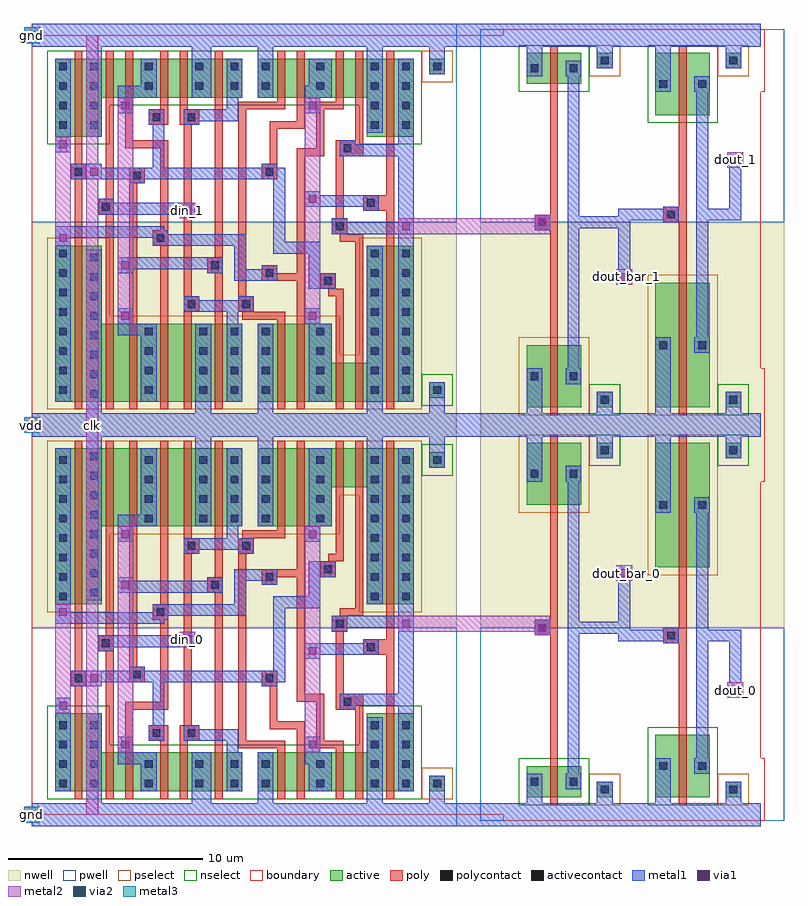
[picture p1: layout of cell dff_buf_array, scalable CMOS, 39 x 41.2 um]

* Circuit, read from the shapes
.subckt dff_buf_array clk din_0 din_1 dout_0 dout_1 dout_bar_0 dout_bar_1 gnd vdd
M1 gnd clk n1 gnd nfet w=4u l=0.4u
M2 gnd clk n2 gnd nfet w=4u l=0.4u
M3 n3 din_0 gnd gnd nfet w=2u l=0.4u
M4 n4 din_1 gnd gnd nfet w=2u l=0.4u
M5 n5 n1 n3 gnd nfet w=2u l=0.4u
M6 n6 n2 n4 gnd nfet w=2u l=0.4u
M7 n7 clk n5 gnd nfet w=2u l=0.4u
M8 n8 clk n6 gnd nfet w=2u l=0.4u
M9 gnd n9 n7 gnd nfet w=2u l=0.4u
M10 gnd n10 n8 gnd nfet w=2u l=0.4u
M11 n9 n5 gnd gnd nfet w=2u l=0.4u
M12 n10 n6 gnd gnd nfet w=2u l=0.4u
M13 n11 n9 gnd gnd nfet w=2u l=0.4u
M14 n12 n10 gnd gnd nfet w=2u l=0.4u
M15 n13 clk n11 gnd nfet w=2u l=0.4u
M16 n14 clk n12 gnd nfet w=2u l=0.4u
M17 n15 n1 n13 gnd nfet w=2u l=0.4u
M18 n16 n2 n14 gnd nfet w=2u l=0.4u
M19 gnd dff_buf_0_0/pinv_3_1/A n15 gnd nfet w=2u l=0.4u
M20 gnd dff_buf_0_1/pinv_3_1/A n16 gnd nfet w=2u l=0.4u
M21 dff_buf_0_0/pinv_3_1/A n13 gnd gnd nfet w=4u l=0.4u
M22 dff_buf_0_1/pinv_3_1/A n14 gnd gnd nfet w=4u l=0.4u
M23 dout_bar_0 dff_buf_0_0/pinv_3_1/A gnd gnd nfet w=1.6u l=0.4u
M24 dout_bar_1 dff_buf_0_1/pinv_3_1/A gnd gnd nfet w=1.6u l=0.4u
M25 dout_0 dout_bar_0 gnd gnd nfet w=3.2u l=0.4u
M26 dout_1 dout_bar_1 gnd gnd nfet w=3.2u l=0.4u
M27 vdd clk n1 vdd pfet w=8u l=0.4u
M28 vdd clk n2 vdd pfet w=8u l=0.4u
M29 n17 din_0 vdd vdd pfet w=4u l=0.4u
M30 n18 din_1 vdd vdd pfet w=4u l=0.4u
M31 n5 clk n17 vdd pfet w=4u l=0.4u
M32 n6 clk n18 vdd pfet w=4u l=0.4u
M33 n19 n1 n5 vdd pfet w=4u l=0.4u
M34 n20 n2 n6 vdd pfet w=4u l=0.4u
M35 vdd n9 n19 vdd pfet w=4u l=0.4u
M36 vdd n10 n20 vdd pfet w=4u l=0.4u
M37 n9 n5 vdd vdd pfet w=4u l=0.4u
M38 n10 n6 vdd vdd pfet w=4u l=0.4u
M39 n21 n9 vdd vdd pfet w=4u l=0.4u
M40 n22 n10 vdd vdd pfet w=4u l=0.4u
M41 n13 n1 n21 vdd pfet w=4u l=0.4u
M42 n14 n2 n22 vdd pfet w=4u l=0.4u
M43 n23 clk n13 vdd pfet w=2u l=0.4u
M44 n24 clk n14 vdd pfet w=2u l=0.4u
M45 vdd dff_buf_0_0/pinv_3_1/A n23 vdd pfet w=2u l=0.4u
M46 vdd dff_buf_0_1/pinv_3_1/A n24 vdd pfet w=2u l=0.4u
M47 dff_buf_0_0/pinv_3_1/A n13 vdd vdd pfet w=8u l=0.4u
M48 dff_buf_0_1/pinv_3_1/A n14 vdd vdd pfet w=8u l=0.4u
M49 dout_bar_0 dff_buf_0_0/pinv_3_1/A vdd vdd pfet w=3.2u l=0.4u
M50 dout_bar_1 dff_buf_0_1/pinv_3_1/A vdd vdd pfet w=3.2u l=0.4u
M51 dout_0 dout_bar_0 vdd vdd pfet w=6.4u l=0.4u
M52 dout_1 dout_bar_1 vdd vdd pfet w=6.4u l=0.4u
.ends

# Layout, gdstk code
import gdstk
lib = gdstk.Library(unit=1e-6, precision=1e-09)
def R(c, l, rs):  # rectangles x0, y0, x1, y1
    for r in rs: c.add(gdstk.rectangle(r[:2], r[2:], *l))
def A(c, l, x, y, w, h, nx, ny, dx, dy):  # array of equal rectangles
    R(c, l, [(x+i*dx, y+j*dy, x+i*dx+w, y+j*dy+h) for i in range(nx) for j in range(ny)])
pwell = (41, 0)
nwell = (42, 0)
active = (43, 0)
pselect = (44, 0)
nselect = (45, 0)
poly = (46, 0)
polycontact = (47, 0)
activecontact = (48, 0)
metal1 = (49, 0)
via1 = (50, 0)
metal2 = (51, 0)
via2 = (61, 0)
metal3 = (62, 0)
boundary = (63, 0)

dff = lib.new_cell('dff')
R(dff, pwell, [(0,-0.6,21.8,9.6)])
R(dff, nwell, [(0,9.6,21.8,20.6)])
R(dff, active, [(1.2,1.2,10.8,3.2), (11.6,1.2,19.6,3.2), (20.4,1.2,21.2,2), (1.2,3.2,3.6,5.2), (17.2,3.2,19.6,5.2), (1.2,10.8,3.6,14.8), (17.2,10.8,19.6,16.8), (1.2,14.8,10.8,18.8), (11.6,14.8,15.4,16.8), (11.6,16.8,19.6,18.8), (20.4,17.8,21.2,18.6)])
R(dff, pselect, [(20,0.8,21.6,2.4), (0.8,10.4,4,14.4), (16.8,10.4,20,16.4), (0.8,14.4,15.8,16.4), (0.8,16.4,20,19.2)])
R(dff, nselect, [(0.8,0.8,20,3.6), (0.8,3.6,4,5.6), (16.8,3.6,20,5.6), (20,17.4,21.6,19)])
R(dff, poly, [(2.2,0.8,2.6,6.6), (3.8,0.8,4.2,8.4), (4.8,0.8,5.2,5.4), (6.6,0.8,7,3.8), (7.6,0.8,8,3.8), (9.4,0.8,9.8,11.4), (12.6,0.8,13,3.4), (13.6,0.8,14,4.4), (15.6,0.8,16,3.4), (16.6,0.8,17,5.4), (18.2,0.8,18.6,8.2), (10.6,3.4,13,3.8), (14.6,3.4,16,3.8), (6,3.8,7,4.6), (7.6,3.8,8.6,4.6), (10.6,3.8,11,13.4), (14.6,3.8,15,5.8), (12.2,4.4,14,4.8), (7.8,4.6,8.2,13.4), (12.2,4.8,12.6,6.6), (4.8,5.4,7,5.8), (15.6,5.4,17,6.2), (6.6,5.8,7,10), (13.6,5.8,15,6.2), (13.6,6.2,14,12.2), (15.6,6.2,16,9.4), (2,6.6,2.8,7.4), (11.8,6.6,12.6,7.4), (5,6.8,5.8,7.6), (2.2,7.4,2.6,19.2), (5,7.6,5.4,19.2), (17,8.2,18.6,9), (3.4,8.4,4.2,9.2), (18.2,9,18.6,19.2), (3.8,9.2,4.2,19.2), (15.4,9.4,16.2,10.2), (6.2,10,7,10.8), (15.8,10.2,17,10.6), (16.6,10.6,17,19.2), (6.6,10.8,7,19.2), (9,11.4,9.8,12.2), (11.8,11.8,12.6,12.2), (9.4,12.2,9.8,19.2), (11.8,12.2,14,12.6), (14.8,12.2,15.6,13), (13.6,12.6,14,19.2), (15.2,13,16,13.4), (7.8,13.4,8.6,14.2), (10.6,13.4,11.4,14.2), (15.6,13.4,16,19.2), (7.8,14.2,8.2,19.2), (10.8,14.2,13,14.6), (12.6,14.6,13,19.2)])
R(dff, polycontact, [(6.2,4,6.6,4.4), (8,4,8.4,4.4), (16,5.6,16.4,6), (2.2,6.8,2.6,7.2), (12,6.8,12.4,7.2), (5.2,7,5.6,7.4), (17.2,8.4,17.6,8.8), (3.6,8.6,4,9), (15.6,9.6,16,10), (6.4,10.2,6.8,10.6), (9.2,11.6,9.6,12), (12,12,12.4,12.4), (15,12.4,15.4,12.8), (8,13.6,8.4,14), (10.8,13.6,11.2,14)])
A(dff, activecontact, 1.4, 1.4, 0.4, 0.4, 1, 4, 0, 1)
A(dff, activecontact, 3, 1.4, 0.4, 0.4, 1, 4, 0, 1)
A(dff, activecontact, 11.8, 1.4, 0.4, 0.4, 3, 2, 2.8, 1)
A(dff, activecontact, 19, 1.4, 0.4, 0.4, 1, 4, 0, 1)
A(dff, activecontact, 1.4, 11, 0.4, 0.4, 1, 8, 0, 1)
A(dff, activecontact, 17.4, 11, 0.4, 0.4, 1, 7, 0, 1)
A(dff, activecontact, 19, 11, 0.4, 0.4, 1, 7, 0, 1)
A(dff, activecontact, 3, 11.2, 0.4, 0.4, 1, 8, 0, 1)
A(dff, activecontact, 5.8, 15, 0.4, 0.4, 1, 4, 0, 1)
A(dff, activecontact, 8.6, 15, 0.4, 0.4, 3, 4, 1.6, 1)
A(dff, activecontact, 14.6, 15, 0.4, 0.4, 1, 4, 0, 1)
A(dff, activecontact, 17.4, 18, 0.4, 0.4, 3, 1, 1.6, 0)
R(dff, activecontact, [(5.8,1.4,6.2,1.8), (8.4,1.4,8.8,1.8), (10.2,1.4,10.6,1.8), (20.6,1.4,21,1.8), (5.8,2.4,6.2,2.8), (8.4,2.4,8.8,2.8), (10.2,2.4,10.6,2.8), (17.4,3.4,17.8,3.8), (17.4,4.4,17.8,4.8)])
R(dff, metal1, [(0,-0.6,21.8,0.6), (0,-0.6,21.8,0.6), (2.8,0.6,3.6,5.2), (8.2,0.6,9.2,3.2), (11.6,0.6,12.4,3.2), (17.2,0.6,18,5), (20.4,0.6,21.2,2), (1.2,1.2,2,6), (5.6,1.2,6.4,2.6), (10,1.2,10.8,3.2), (14.2,1.2,15.4,2.6), (18.8,1.2,19.6,5.6), (4.4,2.6,6.4,3.2), (14,2.6,15.4,3.2), (4.4,3.2,5.2,4), (10,3.2,10.6,3.8), (14,3.2,14.8,4), (6,3.8,6.8,4.6), (7.8,3.8,10.6,4.4), (7.8,4.4,8.6,4.6), (6.2,4.6,6.8,6.8), (15.8,5.4,16.6,5.6), (15.8,5.6,19.6,6.2), (18.8,6.2,19.6,9.6), (2,6.6,3.6,6.8), (11.8,6.6,12.6,6.8), (2,6.8,13,7.4), (5,7.4,5.8,7.6), (12.4,7.4,13,10.6), (14,8,14.8,8.2), (14,8.2,17.8,8.8), (3.4,8.4,4.2,8.6), (3.4,8.6,8.4,9.2), (17,8.8,17.8,9), (7.6,9.2,8.4,9.4), (15.4,9.4,16.2,9.6), (15.4,9.6,19.6,10.2), (1.2,9.8,6.8,10), (1.2,10,7,10.2), (1.2,10.2,11,10.4), (18.8,10.2,19.6,18.8), (1.2,10.4,2,18.8), (6.2,10.4,11,10.8), (12.4,10.6,14.8,11.2), (10.4,10.8,11,12), (17.2,10.8,18,19.4), (2.8,11,3.6,19.4), (14.2,11.2,14.8,12.2), (4.4,11.4,9.8,12), (11.8,11.8,12.6,12), (4.4,12,5.2,12.2), (9,12,9.8,12.2), (10.4,12,12.6,12.6), (14.2,12.2,15.6,13), (7.8,13.4,8.6,13.6), (10.6,13.4,11.4,13.6), (7.8,13.6,11.4,14.2), (4.4,14,5.2,14.8), (14,14,14.8,14.8), (10,14.2,10.6,14.8), (4.4,14.8,6.4,15.4), (8.4,14.8,9.2,19.4), (10,14.8,10.8,18.8), (11.6,14.8,12.4,19.4), (14.2,14.8,15.4,18.8), (5.6,15.4,6.4,18.8), (20.4,17.8,21.2,19.4), (0,19.4,21.8,20.6), (0,19.4,21.8,20.6)])
R(dff, via1, [(4.6,3.4,5,3.8), (14.2,3.4,14.6,3.8), (1.4,5.4,1.8,5.8), (3,6.8,3.4,7.2), (14.2,8.2,14.6,8.6), (7.8,8.8,8.2,9.2), (19,9.6,19.4,10), (1.4,10.2,1.8,10.6), (4.6,11.6,5,12), (4.6,14.2,5,14.6), (14.2,14.2,14.6,14.6)])
R(dff, metal2, [(4.4,3.2,5.2,14.8), (14,3.2,14.8,14.8), (1.2,5.2,2,10.8), (2.8,6.6,3.6,7.4), (2.8,6.6,3.6,7.4), (7.6,8.6,8.4,9.4), (7.6,8.6,8.4,9.4), (18.8,9.4,19.6,10.2), (18.8,9.4,19.6,10.2)])
R(dff, boundary, [(0,0,21.8,20)])
dff.add(gdstk.Label('clk', (3,6.8), layer=51, texttype=0))
dff.add(gdstk.Label('D', (8,9), layer=51, texttype=0))
dff.add(gdstk.Label('Q', (19.2,9.8), layer=51, texttype=0))
dff.add(gdstk.Label('vdd', (6.4,19.6), layer=49, texttype=0))
dff.add(gdstk.Label('gnd', (8.8,0.2), layer=49, texttype=0))
dff.add(gdstk.Label('D', (8,9), layer=51, texttype=0))
dff.add(gdstk.Label('Q', (19.2,9.8), layer=51, texttype=0))
dff.add(gdstk.Label('clk', (3.2,7), layer=51, texttype=0))
dff.add(gdstk.Label('vdd', (10.9,20), layer=49, texttype=0))
dff.add(gdstk.Label('gnd', (10.9,0), layer=49, texttype=0))

contact_10 = lib.new_cell('contact_10')
R(contact_10, nwell, [(-1.2,-1.2,2,2)])
R(contact_10, active, [(0,0,0.8,0.8)])
R(contact_10, pselect, [(-0.4,-0.4,1.2,1.2)])
R(contact_10, activecontact, [(0.2,0.2,0.6,0.6)])
R(contact_10, metal1, [(0,0,0.8,0.8)])
R(contact_10, boundary, [(-1.2,-1.2,2,2)])

pmos_m1_w3_200_sm1_dm1_d = lib.new_cell('pmos_m1_w3_200_sm1_dm1_da_p')
R(pmos_m1_w3_200_sm1_dm1_d, nwell, [(-1.2,-1.2,4,4.4)])
R(pmos_m1_w3_200_sm1_dm1_d, active, [(0,0,2.8,3.2)])
R(pmos_m1_w3_200_sm1_dm1_d, pselect, [(-0.4,-0.4,3.2,3.6)])
R(pmos_m1_w3_200_sm1_dm1_d, poly, [(1.2,-0.4,1.6,3.6), (1.2,-0.4,1.6,3.6)])
R(pmos_m1_w3_200_sm1_dm1_d, metal1, [(0,1.2,0.8,2), (2,1.2,2.8,2)])
R(pmos_m1_w3_200_sm1_dm1_d, boundary, [(-1.2,-1.2,4,4.4)])
pmos_m1_w3_200_sm1_dm1_d.add(gdstk.Reference(contact_10, (0,1.2)))
pmos_m1_w3_200_sm1_dm1_d.add(gdstk.Reference(contact_10, (2,1.2)))
pmos_m1_w3_200_sm1_dm1_d.add(gdstk.Label('G', (1.4,1.6), layer=46, texttype=0))
pmos_m1_w3_200_sm1_dm1_d.add(gdstk.Label('S', (0.4,1.6), layer=49, texttype=0))
pmos_m1_w3_200_sm1_dm1_d.add(gdstk.Label('D', (2.4,1.6), layer=49, texttype=0))

contact_9 = lib.new_cell('contact_9')
R(contact_9, pwell, [(-1.2,-1.2,2,2)])
R(contact_9, active, [(0,0,0.8,0.8)])
R(contact_9, nselect, [(-0.4,-0.4,1.2,1.2)])
R(contact_9, activecontact, [(0.2,0.2,0.6,0.6)])
R(contact_9, metal1, [(0,0,0.8,0.8)])
R(contact_9, boundary, [(-1.2,-1.2,2,2)])

nmos_m1_w1_600_sm1_dm1_d = lib.new_cell('nmos_m1_w1_600_sm1_dm1_da_p')
R(nmos_m1_w1_600_sm1_dm1_d, pwell, [(-1.2,-1.2,4,2.8)])
R(nmos_m1_w1_600_sm1_dm1_d, active, [(0,0,2.8,1.6)])
R(nmos_m1_w1_600_sm1_dm1_d, nselect, [(-0.4,-0.4,3.2,2)])
R(nmos_m1_w1_600_sm1_dm1_d, poly, [(1.2,-0.4,1.6,2), (1.2,-0.4,1.6,2)])
R(nmos_m1_w1_600_sm1_dm1_d, metal1, [(0,0.4,0.8,1.2), (2,0.4,2.8,1.2)])
R(nmos_m1_w1_600_sm1_dm1_d, boundary, [(-1.2,-1.2,4,2.8)])
nmos_m1_w1_600_sm1_dm1_d.add(gdstk.Reference(contact_9, (0,0.4)))
nmos_m1_w1_600_sm1_dm1_d.add(gdstk.Reference(contact_9, (2,0.4)))
nmos_m1_w1_600_sm1_dm1_d.add(gdstk.Label('G', (1.4,0.8), layer=46, texttype=0))
nmos_m1_w1_600_sm1_dm1_d.add(gdstk.Label('S', (0.4,0.8), layer=49, texttype=0))
nmos_m1_w1_600_sm1_dm1_d.add(gdstk.Label('D', (2.4,0.8), layer=49, texttype=0))

contact_11 = lib.new_cell('contact_11')
R(contact_11, nwell, [(-1.2,-1.2,2,2)])
R(contact_11, active, [(0,0,0.8,0.8)])
R(contact_11, nselect, [(-0.4,-0.4,1.2,1.2)])
R(contact_11, activecontact, [(0.2,0.2,0.6,0.6)])
R(contact_11, metal1, [(0,0,0.8,0.8)])
R(contact_11, boundary, [(-1.2,-1.2,2,2)])

contact_12 = lib.new_cell('contact_12')
R(contact_12, pwell, [(-1.2,-1.2,2,2)])
R(contact_12, active, [(0,0,0.8,0.8)])
R(contact_12, pselect, [(-0.4,-0.4,1.2,1.2)])
R(contact_12, activecontact, [(0.2,0.2,0.6,0.6)])
R(contact_12, metal1, [(0,0,0.8,0.8)])
R(contact_12, boundary, [(-1.2,-1.2,2,2)])

contact_13 = lib.new_cell('contact_13')
R(contact_13, poly, [(0,0,0.8,0.8)])
R(contact_13, polycontact, [(0.2,0.2,0.6,0.6)])
R(contact_13, metal1, [(0,0,0.8,0.8)])
R(contact_13, boundary, [(0,0,0.8,0.8)])

pinv_3 = lib.new_cell('pinv_3')
R(pinv_3, pwell, [(-1.2,-0.3,7.8,9.6)])
R(pinv_3, nwell, [(-1.2,9.6,7.8,21.5)])
R(pinv_3, poly, [(2.4,2.9,2.8,15.5), (2,9.2,2.4,10)])
R(pinv_3, metal1, [(0,-0.3,6.6,0.3), (1.2,-0.3,2,1.3), (4.8,0,5.6,1.3), (3.3,1.3,3.9,17.9), (1.6,9.2,2.4,10), (3.6,9.3,4.2,9.9), (1.2,17.1,2,20.3), (4.8,18.7,5.6,20), (0,19.7,6.6,20.3)])
R(pinv_3, boundary, [(0,0,6.6,20), (0,0,6.6,20)])
pinv_3.add(gdstk.Reference(pmos_m1_w3_200_sm1_dm1_d, (1.2,15.9)))
pinv_3.add(gdstk.Reference(nmos_m1_w1_600_sm1_dm1_d, (1.2,0.9)))
pinv_3.add(gdstk.Reference(contact_11, (4.8,18.3)))
pinv_3.add(gdstk.Reference(contact_12, (4.8,0.9)))
pinv_3.add(gdstk.Reference(contact_13, (1.6,9.2)))
pinv_3.add(gdstk.Label('A', (2,9.6), layer=49, texttype=0))
pinv_3.add(gdstk.Label('Z', (3.9,9.6), layer=49, texttype=0))
pinv_3.add(gdstk.Label('gnd', (3.3,0), layer=49, texttype=0))
pinv_3.add(gdstk.Label('vdd', (3.3,20), layer=49, texttype=0))

pmos_m1_w6_400_sm1_dm1_d = lib.new_cell('pmos_m1_w6_400_sm1_dm1_da_p')
R(pmos_m1_w6_400_sm1_dm1_d, nwell, [(-1.2,-1.2,4,7.6)])
R(pmos_m1_w6_400_sm1_dm1_d, active, [(0,0,2.8,6.4)])
R(pmos_m1_w6_400_sm1_dm1_d, pselect, [(-0.4,-0.4,3.2,6.8)])
R(pmos_m1_w6_400_sm1_dm1_d, poly, [(1.2,-0.4,1.6,6.8), (1.2,-0.4,1.6,6.8)])
R(pmos_m1_w6_400_sm1_dm1_d, metal1, [(0,2.8,0.8,3.6), (2,2.8,2.8,3.6)])
R(pmos_m1_w6_400_sm1_dm1_d, boundary, [(-1.2,-1.2,4,7.6)])
pmos_m1_w6_400_sm1_dm1_d.add(gdstk.Reference(contact_10, (0,2.8)))
pmos_m1_w6_400_sm1_dm1_d.add(gdstk.Reference(contact_10, (2,2.8)))
pmos_m1_w6_400_sm1_dm1_d.add(gdstk.Label('G', (1.4,3.2), layer=46, texttype=0))
pmos_m1_w6_400_sm1_dm1_d.add(gdstk.Label('S', (0.4,3.2), layer=49, texttype=0))
pmos_m1_w6_400_sm1_dm1_d.add(gdstk.Label('D', (2.4,3.2), layer=49, texttype=0))

nmos_m1_w3_200_sm1_dm1_d = lib.new_cell('nmos_m1_w3_200_sm1_dm1_da_p')
R(nmos_m1_w3_200_sm1_dm1_d, pwell, [(-1.2,-1.2,4,4.4)])
R(nmos_m1_w3_200_sm1_dm1_d, active, [(0,0,2.8,3.2)])
R(nmos_m1_w3_200_sm1_dm1_d, nselect, [(-0.4,-0.4,3.2,3.6)])
R(nmos_m1_w3_200_sm1_dm1_d, poly, [(1.2,-0.4,1.6,3.6), (1.2,-0.4,1.6,3.6)])
R(nmos_m1_w3_200_sm1_dm1_d, metal1, [(0,1.2,0.8,2), (2,1.2,2.8,2)])
R(nmos_m1_w3_200_sm1_dm1_d, boundary, [(-1.2,-1.2,4,4.4)])
nmos_m1_w3_200_sm1_dm1_d.add(gdstk.Reference(contact_9, (0,1.2)))
nmos_m1_w3_200_sm1_dm1_d.add(gdstk.Reference(contact_9, (2,1.2)))
nmos_m1_w3_200_sm1_dm1_d.add(gdstk.Label('G', (1.4,1.6), layer=46, texttype=0))
nmos_m1_w3_200_sm1_dm1_d.add(gdstk.Label('S', (0.4,1.6), layer=49, texttype=0))
nmos_m1_w3_200_sm1_dm1_d.add(gdstk.Label('D', (2.4,1.6), layer=49, texttype=0))

pinv_4 = lib.new_cell('pinv_4')
R(pinv_4, pwell, [(-1.2,-0.3,7.8,9.6)])
R(pinv_4, nwell, [(-1.2,9.6,7.8,21.5)])
R(pinv_4, poly, [(2.4,4.5,2.8,12.3), (2,8.8,2.4,9.6)])
R(pinv_4, metal1, [(0,-0.3,6.6,0.3), (1.2,-0.3,2,2.1), (4.8,0,5.6,1.3), (3.3,2.1,3.9,16.3), (1.6,8.8,2.4,9.6), (3.6,8.9,4.2,9.5), (1.2,15.5,2,20.3), (4.8,18.7,5.6,20), (0,19.7,6.6,20.3)])
R(pinv_4, boundary, [(0,0,6.6,20), (0,0,6.6,20)])
pinv_4.add(gdstk.Reference(pmos_m1_w6_400_sm1_dm1_d, (1.2,12.7)))
pinv_4.add(gdstk.Reference(nmos_m1_w3_200_sm1_dm1_d, (1.2,0.9)))
pinv_4.add(gdstk.Reference(contact_11, (4.8,18.3)))
pinv_4.add(gdstk.Reference(contact_12, (4.8,0.9)))
pinv_4.add(gdstk.Reference(contact_13, (1.6,8.8)))
pinv_4.add(gdstk.Label('A', (2,9.2), layer=49, texttype=0))
pinv_4.add(gdstk.Label('Z', (3.9,9.2), layer=49, texttype=0))
pinv_4.add(gdstk.Label('gnd', (3.3,0), layer=49, texttype=0))
pinv_4.add(gdstk.Label('vdd', (3.3,20), layer=49, texttype=0))

contact_6 = lib.new_cell('contact_6')
R(contact_6, metal1, [(0,0,0.8,0.8)])
R(contact_6, via1, [(0.2,0.2,0.6,0.6)])
R(contact_6, metal2, [(0,0,0.8,0.8)])
R(contact_6, boundary, [(0,0,0.8,0.8)])

dff_buf_0 = lib.new_cell('dff_buf_0')
R(dff_buf_0, metal1, [(0,-0.6,37.4,0.6), (35.8,6.4,36.4,9.2), (30.1,8.9,30.7,9.5), (30.4,8.9,32.8,9.5), (34.7,8.9,36.1,9.5), (35.8,8.9,36.4,9.5), (30.1,9.2,30.7,9.6), (28.1,9.3,30.4,9.9), (30.1,9.3,30.7,9.9), (30.1,9.6,30.7,12.4), (0,19.4,37.4,20.6)])
R(dff_buf_0, metal2, [(35.8,6.1,36.4,6.7), (2.8,6.6,3.6,7.4), (7.6,8.6,8.4,9.4), (19.2,9.4,26.2,10.2), (25.8,9.4,26.6,10.2), (25.8,9.6,26.6,9.8), (30.2,12.1,30.8,12.7)])
R(dff_buf_0, boundary, [(0,0,37.4,20)])
dff_buf_0.add(gdstk.Reference(dff, (0,0)))
dff_buf_0.add(gdstk.Reference(pinv_3, (24.2,0)))
dff_buf_0.add(gdstk.Reference(pinv_4, (30.8,0)))
dff_buf_0.add(gdstk.Reference(contact_6, (25.8,9.2)))
dff_buf_0.add(gdstk.Reference(contact_6, (35.7,6)))
dff_buf_0.add(gdstk.Reference(contact_6, (30,12)))
dff_buf_0.add(gdstk.Label('vdd', (18.7,20), layer=49, texttype=0))
dff_buf_0.add(gdstk.Label('gnd', (18.7,0), layer=49, texttype=0))
dff_buf_0.add(gdstk.Label('clk', (3.2,7), layer=51, texttype=0))
dff_buf_0.add(gdstk.Label('D', (8,9), layer=51, texttype=0))
dff_buf_0.add(gdstk.Label('Q', (36.1,6.4), layer=51, texttype=0))
dff_buf_0.add(gdstk.Label('Qb', (30.5,12.4), layer=51, texttype=0))

contact_7 = lib.new_cell('contact_7')
R(contact_7, metal2, [(0,0,0.8,0.8)])
R(contact_7, via2, [(0.2,0.2,0.6,0.6)])
R(contact_7, metal3, [(0,0,0.8,0.8)])
R(contact_7, boundary, [(0,0,0.8,0.8)])

dff_buf_array = lib.new_cell('dff_buf_array')
R(dff_buf_array, metal1, [(0,-0.6,37.4,0.6), (0,19.4,37.4,20.6), (0,19.4,37.4,20.6), (0,39.4,37.4,40.6)])
R(dff_buf_array, metal2, [(2.8,0,3.4,40), (35.8,6.1,36.4,6.7), (7.6,8.6,8.4,9.4), (30.2,12.1,30.8,12.7), (30.2,27.3,30.8,27.9), (7.6,30.6,8.4,31.4), (35.8,33.3,36.4,33.9)])
A(dff_buf_array, metal3, -0.4, -0.4, 0.8, 0.8, 1, 3, 0, 20)
R(dff_buf_array, boundary, [(0,0,37.4,40)])
dff_buf_array.add(gdstk.Reference(dff_buf_0, (0,0)))
dff_buf_array.add(gdstk.Reference(dff_buf_0, (0,40), x_reflection=True))
dff_buf_array.add(gdstk.Reference(contact_6, (-0.4,19.6)))
dff_buf_array.add(gdstk.Reference(contact_7, (-0.4,19.6)))
dff_buf_array.add(gdstk.Reference(contact_6, (-0.4,-0.4)))
dff_buf_array.add(gdstk.Reference(contact_7, (-0.4,-0.4)))
dff_buf_array.add(gdstk.Reference(contact_6, (-0.4,19.6)))
dff_buf_array.add(gdstk.Reference(contact_7, (-0.4,19.6)))
dff_buf_array.add(gdstk.Reference(contact_6, (-0.4,39.6)))
dff_buf_array.add(gdstk.Reference(contact_7, (-0.4,39.6)))
dff_buf_array.add(gdstk.Label('vdd', (0,20), layer=62, texttype=0))
dff_buf_array.add(gdstk.Label('gnd', (0,40), layer=62, texttype=0))
dff_buf_array.add(gdstk.Label('gnd', (0,0), layer=62, texttype=0))
dff_buf_array.add(gdstk.Label('din_0', (8,9), layer=51, texttype=0))
dff_buf_array.add(gdstk.Label('dout_0', (36.1,6.4), layer=51, texttype=0))
dff_buf_array.add(gdstk.Label('dout_bar_0', (30.5,12.4), layer=51, texttype=0))
dff_buf_array.add(gdstk.Label('din_1', (8,31), layer=51, texttype=0))
dff_buf_array.add(gdstk.Label('dout_1', (36.1,33.6), layer=51, texttype=0))
dff_buf_array.add(gdstk.Label('dout_bar_1', (30.5,27.6), layer=51, texttype=0))
dff_buf_array.add(gdstk.Label('clk', (3.1,20), layer=51, texttype=0))

lib.write_gds('dff_buf_array.gds')
